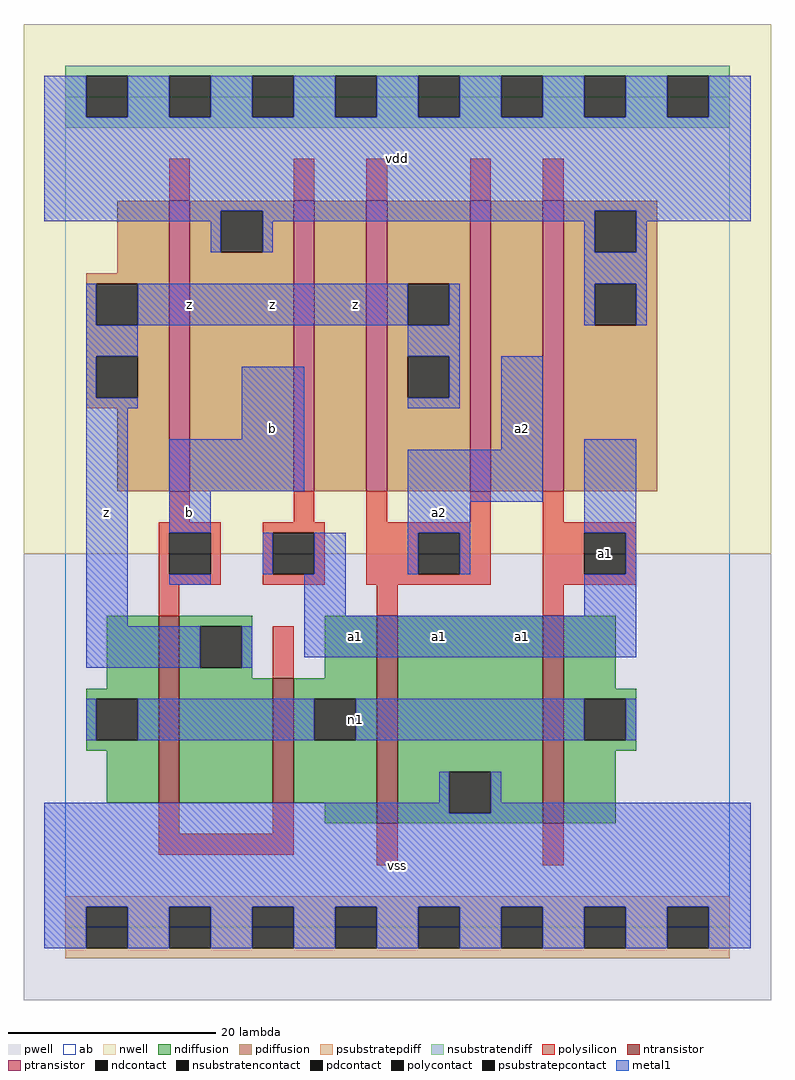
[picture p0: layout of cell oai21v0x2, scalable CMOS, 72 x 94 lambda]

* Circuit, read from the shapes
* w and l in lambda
.subckt oai21v0x2 a1 a2 b n1 vdd vss z
M1 z b n1 vss nfet w=18 l=2
M2 n1 b z vss nfet w=12 l=2
M3 vss a2 n1 vss nfet w=20 l=2
M4 n1 a1 vss vss nfet w=20 l=2
M5 vdd b z vdd pfet w=28 l=2
M6 n2 a1 vdd vdd pfet w=28 l=2
M7 z a2 n2 vdd pfet w=28 l=2
M8 n3 a2 z vdd pfet w=28 l=2
M9 vdd a1 n3 vdd pfet w=28 l=2
.ends

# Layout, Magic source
magic
tech scmos
<< ab >>
rect 0 0 64 80
<< pwell >>
rect -4 -7 68 36
<< nwell >>
rect -4 36 68 87
<< polysilicon >>
rect 10 70 12 74
rect 22 70 24 74
rect 29 70 31 74
rect 39 70 41 74
rect 46 70 48 74
rect 10 39 12 42
rect 22 39 24 42
rect 29 39 31 42
rect 39 39 41 42
rect 9 38 15 39
rect 9 34 10 38
rect 14 34 15 38
rect 9 33 15 34
rect 19 38 25 39
rect 19 34 20 38
rect 24 34 25 38
rect 19 33 25 34
rect 29 38 41 39
rect 29 34 34 38
rect 38 34 41 38
rect 29 33 41 34
rect 46 39 48 42
rect 46 38 55 39
rect 46 34 50 38
rect 54 34 55 38
rect 46 33 55 34
rect 9 30 11 33
rect 30 30 32 33
rect 46 30 48 33
rect 20 24 22 29
rect 9 9 11 12
rect 20 9 22 12
rect 9 7 22 9
rect 30 6 32 10
rect 46 6 48 10
<< ndiffusion >>
rect 4 23 9 30
rect 2 22 9 23
rect 2 18 3 22
rect 7 18 9 22
rect 2 17 9 18
rect 4 12 9 17
rect 11 29 18 30
rect 11 25 13 29
rect 17 25 18 29
rect 11 24 18 25
rect 25 24 30 30
rect 11 12 20 24
rect 22 22 30 24
rect 22 18 24 22
rect 28 18 30 22
rect 22 12 30 18
rect 25 10 30 12
rect 32 15 46 30
rect 32 11 37 15
rect 41 11 46 15
rect 32 10 46 11
rect 48 23 53 30
rect 48 22 55 23
rect 48 18 50 22
rect 54 18 55 22
rect 48 17 55 18
rect 48 10 53 17
<< pdiffusion >>
rect 5 63 10 70
rect 2 62 10 63
rect 2 58 3 62
rect 7 58 10 62
rect 2 55 10 58
rect 2 51 3 55
rect 7 51 10 55
rect 2 50 10 51
rect 5 42 10 50
rect 12 69 22 70
rect 12 65 15 69
rect 19 65 22 69
rect 12 42 22 65
rect 24 42 29 70
rect 31 62 39 70
rect 31 58 33 62
rect 37 58 39 62
rect 31 55 39 58
rect 31 51 33 55
rect 37 51 39 55
rect 31 42 39 51
rect 41 42 46 70
rect 48 69 57 70
rect 48 65 51 69
rect 55 65 57 69
rect 48 62 57 65
rect 48 58 51 62
rect 55 58 57 62
rect 48 42 57 58
<< metal1 >>
rect -2 78 2 82
rect 6 78 10 82
rect 14 78 18 82
rect 22 78 26 82
rect 30 78 34 82
rect 38 78 42 82
rect 46 78 50 82
rect 54 78 58 82
rect 62 78 66 82
rect -2 69 66 78
rect -2 68 15 69
rect 14 65 15 68
rect 19 68 51 69
rect 19 65 20 68
rect 50 65 51 68
rect 55 68 66 69
rect 55 65 56 68
rect 50 62 56 65
rect 2 58 3 62
rect 7 58 33 62
rect 37 58 38 62
rect 50 58 51 62
rect 55 58 56 62
rect 2 55 7 58
rect 2 51 3 55
rect 33 55 38 58
rect 2 50 7 51
rect 2 29 6 50
rect 17 47 23 54
rect 37 51 38 55
rect 33 50 38 51
rect 10 42 23 47
rect 42 46 46 55
rect 10 38 14 42
rect 33 41 46 46
rect 33 38 39 41
rect 19 34 20 38
rect 24 34 27 38
rect 33 34 34 38
rect 38 34 39 38
rect 50 38 55 47
rect 54 34 55 38
rect 10 33 14 34
rect 23 30 27 34
rect 50 30 55 34
rect 2 25 13 29
rect 17 25 18 29
rect 23 26 55 30
rect 2 18 3 22
rect 7 18 24 22
rect 28 18 50 22
rect 54 18 55 22
rect 36 12 37 15
rect -2 11 37 12
rect 41 12 42 15
rect 41 11 66 12
rect -2 2 66 11
rect -2 -2 2 2
rect 6 -2 10 2
rect 14 -2 18 2
rect 22 -2 26 2
rect 30 -2 34 2
rect 38 -2 42 2
rect 46 -2 50 2
rect 54 -2 58 2
rect 62 -2 66 2
<< ntransistor >>
rect 9 12 11 30
rect 20 12 22 24
rect 30 10 32 30
rect 46 10 48 30
<< ptransistor >>
rect 10 42 12 70
rect 22 42 24 70
rect 29 42 31 70
rect 39 42 41 70
rect 46 42 48 70
<< polycontact >>
rect 10 34 14 38
rect 20 34 24 38
rect 34 34 38 38
rect 50 34 54 38
<< ndcontact >>
rect 3 18 7 22
rect 13 25 17 29
rect 24 18 28 22
rect 37 11 41 15
rect 50 18 54 22
<< pdcontact >>
rect 3 58 7 62
rect 3 51 7 55
rect 15 65 19 69
rect 33 58 37 62
rect 33 51 37 55
rect 51 65 55 69
rect 51 58 55 62
<< psubstratepcontact >>
rect 2 -2 6 2
rect 10 -2 14 2
rect 18 -2 22 2
rect 26 -2 30 2
rect 34 -2 38 2
rect 42 -2 46 2
rect 50 -2 54 2
rect 58 -2 62 2
<< nsubstratencontact >>
rect 2 78 6 82
rect 10 78 14 82
rect 18 78 22 82
rect 26 78 30 82
rect 34 78 38 82
rect 42 78 46 82
rect 50 78 54 82
rect 58 78 62 82
<< psubstratepdiff >>
rect 0 2 64 3
rect 0 -2 2 2
rect 6 -2 10 2
rect 14 -2 18 2
rect 22 -2 26 2
rect 30 -2 34 2
rect 38 -2 42 2
rect 46 -2 50 2
rect 54 -2 58 2
rect 62 -2 64 2
rect 0 -3 64 -2
<< nsubstratendiff >>
rect 0 82 64 83
rect 0 78 2 82
rect 6 78 10 82
rect 14 78 18 82
rect 22 78 26 82
rect 30 78 34 82
rect 38 78 42 82
rect 46 78 50 82
rect 54 78 58 82
rect 62 78 64 82
rect 0 77 64 78
<< labels >>
rlabel metal1 4 40 4 40 6 z
rlabel metal1 12 40 12 40 6 b
rlabel metal1 20 48 20 48 6 b
rlabel metal1 12 60 12 60 6 z
rlabel metal1 20 60 20 60 6 z
rlabel metal1 32 6 32 6 6 vss
rlabel metal1 28 28 28 28 6 a1
rlabel metal1 36 28 36 28 6 a1
rlabel metal1 36 40 36 40 6 a2
rlabel metal1 28 60 28 60 6 z
rlabel metal1 32 74 32 74 6 vdd
rlabel metal1 44 28 44 28 6 a1
rlabel metal1 44 48 44 48 6 a2
rlabel metal1 28 20 28 20 6 n1
rlabel polycontact 52 36 52 36 6 a1
<< end >>
